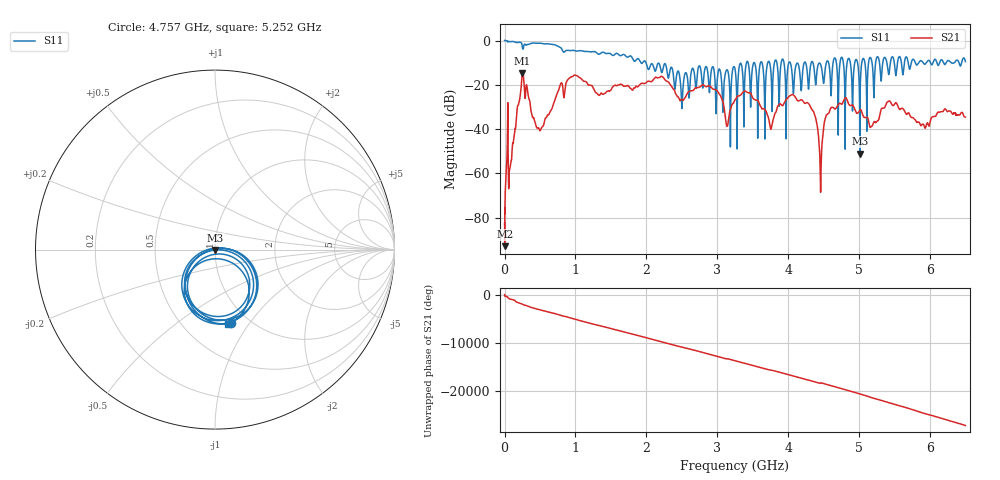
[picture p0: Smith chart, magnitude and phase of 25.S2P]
!Keysight Technologies,E5063A,MY54503115,A.05.08
!Date: Mon Mar 04 15:55:38 2024
!Data & Calibration Information:
!Freq	S11:NONE(--)	S21:NONE(--)	S12:NONE(--)	S22:NONE(--)
# Hz S dB R 50
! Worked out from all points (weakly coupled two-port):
!   10001 points, 100 kHz to 6.5 GHz, reference 50 ohm
!   highest |S21| = -14.61 dB at 250.3 MHz (marker M1); lowest = -92.8 dB at 1.4 MHz (marker M2)
!   lowest |S11| = -51.0 dB at 5.01 GHz (marker M3), VSWR 1.01, Z = 50.1 - j0.266 ohm
!   |S11| at or under -10 dB: 1.994 GHz to 3.412 GHz (1.418 GHz wide, 52.4 % of centre); 4.03 GHz to 4.226 GHz (196.2 MHz wide, 4.75 % of centre); 4.35 GHz to 4.538 GHz (188.5 MHz wide, 4.24 % of centre) (the widest 3 of 30)
!   S12 and S22 are empty: the file has one direction only
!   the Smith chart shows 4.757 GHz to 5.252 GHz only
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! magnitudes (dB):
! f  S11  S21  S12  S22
! 100 kHz  0.0  -82.4  -  -
! 1.4 MHz  0.0  -92.8  -  -
! 250.3 MHz  -3.1  -14.6  -  -
! 488.2 MHz  -1.2  -40.1  -  -
! 785.9 MHz  -3.1  -19.9  -  -
! 1.084 GHz  -4.6  -17.3  -  -
! 2.167 GHz  -10.2  -16.8  -  -
! 2.494 GHz  -25.9  -26.6  -  -
! 2.979 GHz  -28.1  -22.2  -  -
! 3.138 GHz  -13.2  -38.7  -  -
! 3.25 GHz  -12.8  -26.8  -  -
! 3.45 GHz  -13.1  -23.6  -  -
! 3.757 GHz  -14.3  -40.0  -  -
! 4.041 GHz  -11.3  -24.7  -  -
! 4.334 GHz  -9.5  -31.1  -  -
! 4.458 GHz  -10.9  -68.1  -  -
! 4.609 GHz  -23.0  -30.2  -  -
! 5.01 GHz  -51.0  -31.5  -  -
! 5.174 GHz  -8.6  -38.7  -  -
! 5.417 GHz  -15.3  -27.3  -  -
! 5.912 GHz  -10.3  -38.0  -  -
! 6.5 GHz  -9.5  -34.6  -  -
